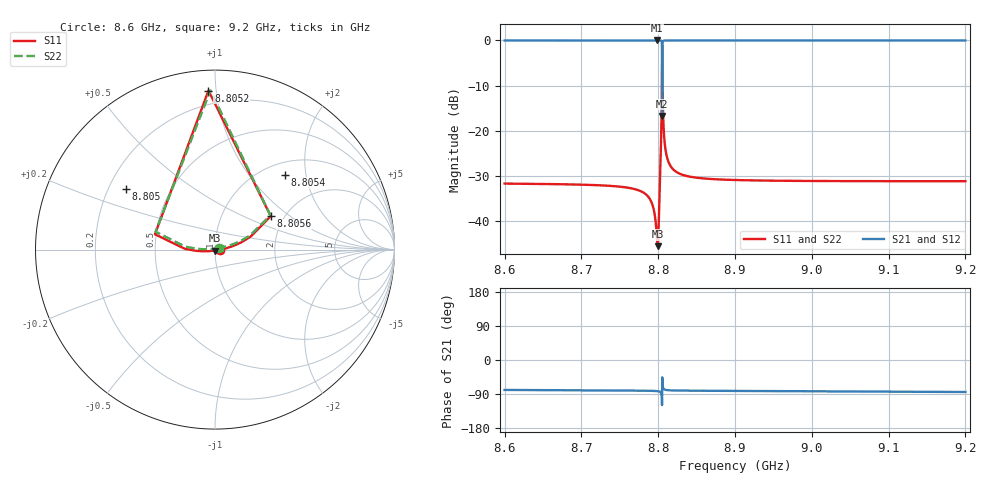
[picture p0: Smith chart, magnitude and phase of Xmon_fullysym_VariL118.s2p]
! Sonnet Data File
! From: emgraph Version : 16.52
! From Project: 171117_Xmon_fullysym
! Data is De-embedded
! Data File Written: 11/26/2017 21:44:48
!< HDATE 11/26/2017 17:24:49
!< MDATE 11/26/2017 17:24:49
!< PARAMS
!< Lj = 11.0
!< Gap = 1.0
!< Pwid = 2000.0
!< Airgap = 6.0
!< Width = 10.0
!< Lj1 = 11.8
!< END PARAMS
# GHZ S MA R 50.90000
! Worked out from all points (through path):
!   3001 points, 8.6 GHz to 9.2 GHz, reference 50.9 ohm
!   highest |S21| = 0.00 dB at 8.798 GHz (marker M1); lowest = -16.7 dB at 8.8052 GHz (marker M2)
!   lowest |S11| = -45.5 dB at 8.7994 GHz (marker M3), VSWR 1.01, Z = 51 - j0.54 ohm
!   |S11| at or under -10 dB: start of sweep to 8.8048 GHz; 8.8057 GHz to end of sweep
!   |S22| runs from -45.2 to -1.0 dB; largest |S21 - S12| = 1.5e-10
!   S11 on the Smith chart (normalised r, x): 8.6 GHz: 1.05, -0.00; 8.805 GHz: 0.27, +0.29; 8.8052 GHz: 0.12, +0.95; 8.8054 GHz: 1.24, +1.52; 8.8056 GHz: 1.70, +0.73; 9.2 GHz: 1.06, -0.01
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8.6  0.02618 -0.1  0.9997 -79.0  0.9997 -79.0  0.02618 22.1
!< P1 F=8.6 Eeff=(6.44845572 -2.9799e-5) Z0=(50.9087207 1.17006e-4) R=0.0 C=0.0
!< P2 F=8.6 Eeff=(6.44845572 -2.9799e-5) Z0=(50.9087207 1.17006e-4) R=0.0 C=0.0
8.7  0.02548 -1.6  0.9997 -79.9  0.9997 -79.9  0.02548 21.7
8.7802  0.02096 -5.4  0.9998 -81.0  0.9998 -81.0  0.02097 23.6
8.7914  0.01618 -10.4  0.9999 -81.3  0.9999 -81.3  0.01619 27.8
8.798  0.007322 -38.5  0.9999 -82.0  0.9999 -82.0  0.007408 55.2
8.7994  0.005325 -84.0  0.9999 -82.3  0.9999 -82.3  0.005503 99.3
8.8002  0.006924 -122.3  0.9999 -82.6  0.9999 -82.6  0.007108 136.0
8.8014  0.01519 -152.7  0.9997 -83.1  0.9997 -83.1  0.01533 165.0
8.8034  0.05994 -171.1  0.9973 -85.8  0.9973 -85.8  0.0601 177.8
8.805  0.5994 145.7  0.7392 -119.0  0.7392 -119.0  0.6002 144.2
8.8052  0.8866 92.4  0.1462 -45.6  0.1462 -45.6  0.8877 91.6
8.8054  0.5687 47.0  0.7762 -47.8  0.7762 -47.8  0.5694 47.0
8.8056  0.3623 30.9  0.9168 -61.1  0.9168 -61.1  0.3627 31.7
8.8074  0.09554 10.6  0.9948 -76.9  0.9948 -76.9  0.09561 16.3
8.8084  0.07428 8.3  0.997 -78.1  0.997 -78.1  0.07432 15.9
8.8094  0.06306 6.8  0.9978 -78.8  0.9978 -78.8  0.06309 15.9
8.812  0.04928 4.6  0.9987 -79.6  0.9987 -79.6  0.04929 16.4
8.8218  0.03612 1.3  0.9993 -80.5  0.9993 -80.5  0.03612 17.8
8.9002  0.02867 -2.3  0.9996 -81.6  0.9996 -81.6  0.02867 19.1
9.0002  0.02798 -3.7  0.9996 -82.6  0.9996 -82.6  0.02798 18.6
9.1  0.02784 -5.0  0.9996 -83.5  0.9996 -83.5  0.02784 17.9
9.2  0.02783 -6.1  0.9996 -84.4  0.9996 -84.4  0.02783 17.2
